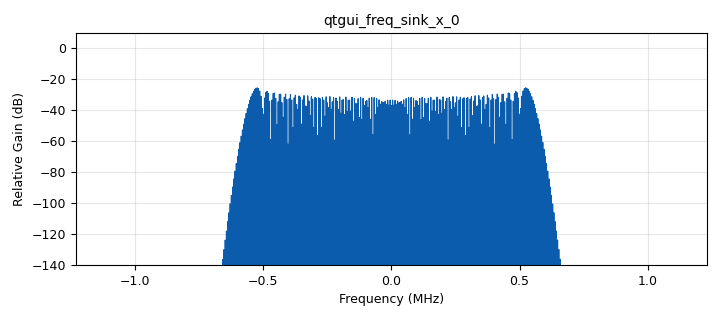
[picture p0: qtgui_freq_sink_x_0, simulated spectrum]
options:
  parameters:
    generate_options: qt_gui
    id: endurosat_e2e
    output_language: python
    title: Not titled yet
  states: {}

blocks:
- name: baud_bit
  id: variable
  parameters:
    value: '9600'
  states: {}
- name: baud_byte
  id: variable
  parameters:
    value: baud_bit/8
  states: {state: disabled}
- name: center_freq
  id: variable
  parameters:
    value: '100000'
  states: {}
- name: fsk_dev
  id: variable
  parameters:
    value: '2400'
  states: {}
- name: rx_gain
  id: variable
  parameters:
    value: '20'
  states: {state: disabled}
- name: samp_rate
  id: variable
  parameters:
    value: baud_bit*spsym
  states: {}
- name: sensitivity
  id: variable
  parameters:
    value: 2*math.pi*(fsk_dev/(baud_bit))
  states: {}
- name: spsym
  id: variable
  parameters:
    value: '256'
  states: {}
- name: tx_gain
  id: variable
  parameters:
    value: '1'
  states: {state: disabled}
- name: blocks_throttle_0
  id: blocks_throttle
  parameters:
    samples_per_second: baud_bit
    type: byte
  states: {}
- name: blocks_vector_source_x_0
  id: blocks_vector_source_x
  parameters:
    repeat: 'True'
    type: byte
    vector: (1,0,1,0,1,0,1,0,1,0,1,0,1,0,1,0,1,0,1,0,1,0,1,0,1,0,1,0,1,0,1,0,1,0,1,0,1,0,1,0,1,0,1,0,1,0,1,0,1,0,1,0,1,0,1,0,1,0,1,0,1,0,1,0,1,0,1,0,1,0,1,0,1,0,1,0,1,0,1,0,0,1,1,1,1,1,1,0,0,0,0,0,0,0,1,0,0,1,0,0,0,1,0,1,0,1,0,1,0,0,1,1,0,0,1,1,1,0,1,0,0,1,0,1,0,0,1,1)
  states: {state: disabled}
- name: blocks_vector_source_x_0_0
  id: blocks_vector_source_x
  parameters:
    repeat: 'True'
    type: byte
    vector: (0xaa, 0xaa)
  states: {}
- name: digital_gfsk_mod_0
  id: digital_gfsk_mod
  parameters:
    bt: '0.5'
    samples_per_symbol: spsym
    sensitivity: sensitivity
  states: {}
- name: import_0
  id: import
  parameters:
    imports: import math
  states: {}
- name: qtgui_freq_sink_x_0
  id: qtgui_freq_sink_x
  parameters:
    bw: samp_rate
    ctrlpanel: 'True'
    fc: '0'
    fftsize: '32768'
    type: complex
  states: {}

connections:
- [blocks_throttle_0, '0', digital_gfsk_mod_0, '0']
- [blocks_vector_source_x_0_0, '0', blocks_throttle_0, '0']
- [digital_gfsk_mod_0, '0', qtgui_freq_sink_x_0, '0']

metadata:
  file_format: 1
  grc_version: 3.9.7.0
